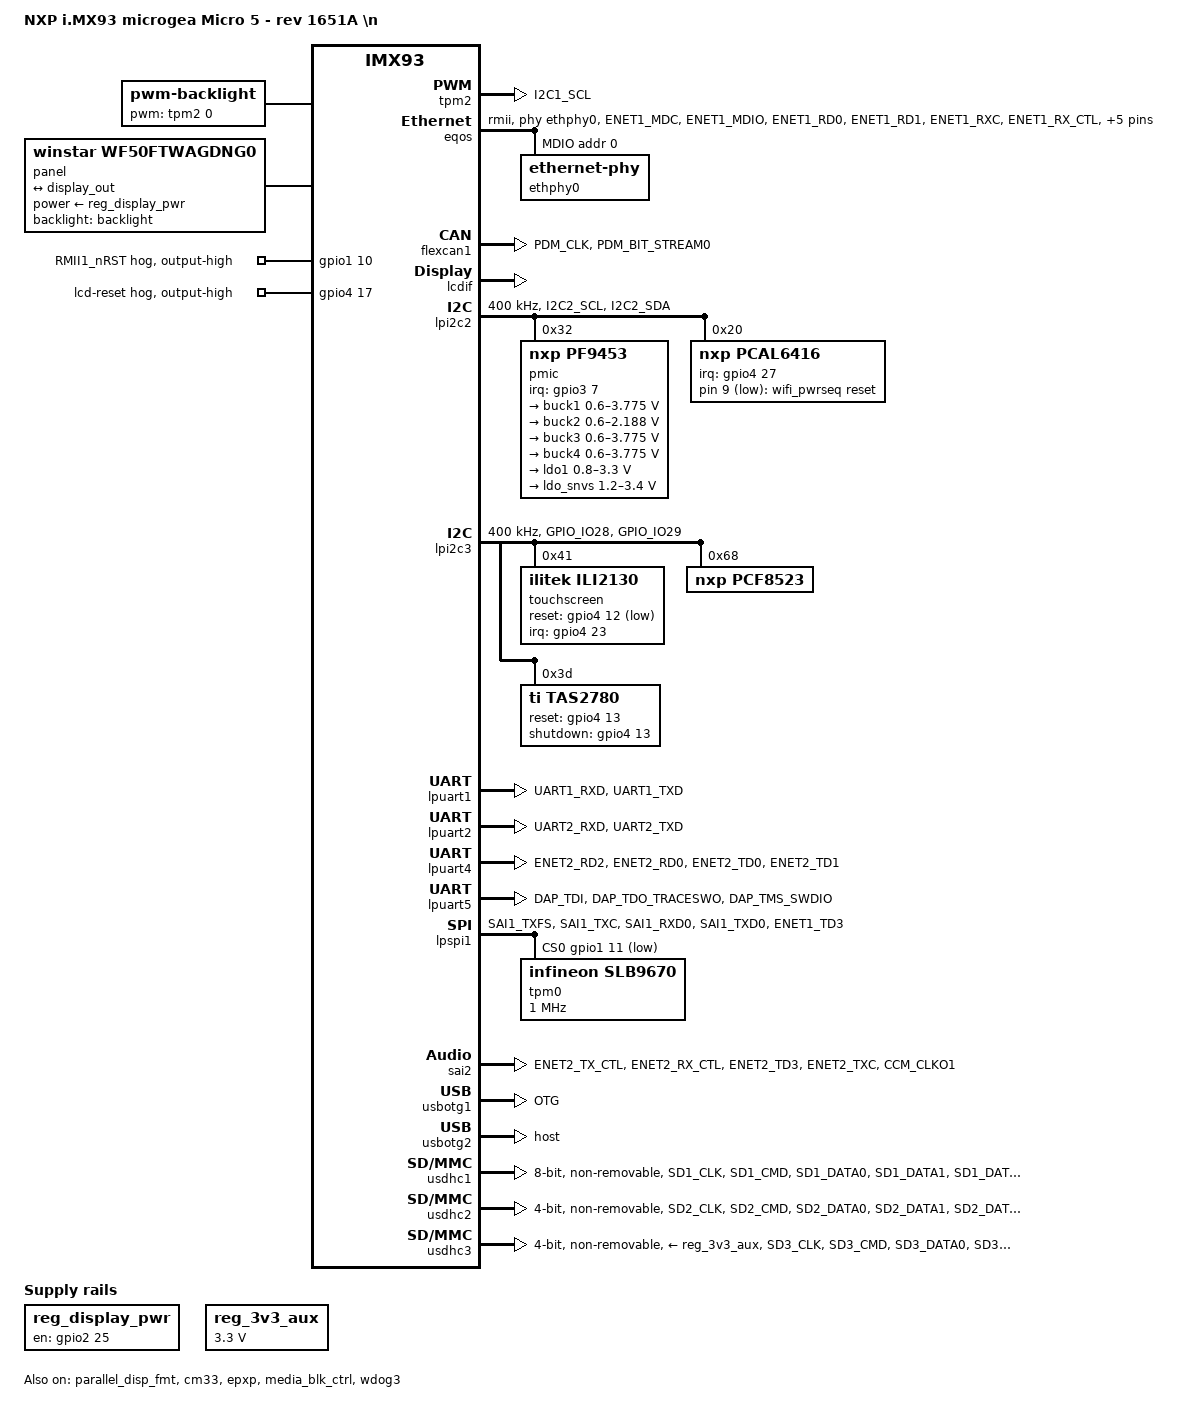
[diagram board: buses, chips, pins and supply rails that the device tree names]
// SPDX-License-Identifier: (GPL-2.0+ OR MIT)
/*
* Copyright 2022 NXP
*/

/dts-v1/;

#include <dt-bindings/net/mxl-8611x.h>
#include <dt-bindings/usb/pd.h>
#include "../freescale/imx93.dtsi"

&ele_fw2 { /*Needed for clean reboot*/
	memory-region = <&ele_reserved>;
};

/ {
	model = "NXP i.MX93 microgea Micro 5 - rev 1651A \n";
	compatible = "engi,imx93" ,"fsl,imx93";

	aliases {
		rtc1= &bbnsm_rtc;
	};

	chosen {
		stdout-path = &lpuart1;
	};

	ethosu { /*NPU*/
		compatible = "arm,ethosu";
		fsl,cm33-proc = <&cm33>;
		memory-region = <&ethosu_mem>;
		power-domains = <&mlmix>;
	};
	
	backlight: backlight { /*DISPLAY - Backlight*/
		compatible = "pwm-backlight";
		pwms = <&tpm2 0 100000 0>;
		brightness-levels = <0 100>;
		num-interpolated-steps = <100>;
		default-brightness-level = <80>;
	};
	
	panel { /*DISPLAY - Display logic*/
		compatible = "winstar,wf50ftwagdng0";
		backlight = <&backlight>;
		power-supply = <&reg_display_pwr>;
		status = "okay";

		port {
			panel_in: endpoint {
				remote-endpoint = <&display_out>;
			};
		};
	};

	reg_display_pwr: regulator-display-pwr { /*DISPLAY - Power*/
		compatible = "regulator-fixed";
		regulator-name = "display_pwr";
		gpio = <&gpio2 25 GPIO_ACTIVE_HIGH>;
		enable-active-high;
		regulator-boot-on;
		regulator-always-on; /* Remove this if you want the driver to manage it */
	};
	
	wifi_pwrseq: wifi-pwrseq { /*WIFI/BT WL_REG_ON*/
        compatible = "mmc-pwrseq-simple";
        reset-gpios = <&pcal6416 9 GPIO_ACTIVE_LOW>; /*EXPIO_1_1*/
        post-power-on-delay-ms = <500>;
    };

	reg_3v3_aux: regulator-3v3aux { /*WIFI/BT - Regulator*/
		compatible = "regulator-gpio";
		regulator-name = "3v3_aux";
		regulator-min-microvolt = <3300000>;
		regulator-max-microvolt = <3300000>;
		states = <3300000 0x1>,
				 <3300000 0x0>;
		enable-active-high;
	};

	reserved-memory {
		#address-cells = <2>;
		#size-cells = <2>;
		ranges;

		linux,cma {
			compatible = "shared-dma-pool";
			reusable;
			alloc-ranges = <0 0x80000000 0 0x40000000>;
			size = <0 0x10000000>;
			linux,cma-default;
		};

		ethosu_mem: ethosu_region@C0000000 {
			compatible = "shared-dma-pool";
			reusable;
			reg = <0x0 0xC0000000 0x0 0x10000000>;
		};

		rsc_table: rsc-table@2021e000 {
			reg = <0 0x2021e000 0 0x1000>;
			no-map;
		};

		vdevbuffer: vdevbuffer@a4020000 {
			compatible = "shared-dma-pool";
			reg = <0 0xa4020000 0 0x100000>;
			no-map;
		};

		vdev0vring0: vdev0vring0@a4000000 {
			reg = <0 0xa4000000 0 0x8000>;
			no-map;
		};

		vdev0vring1: vdev0vring1@a4008000 {
			reg = <0 0xa4008000 0 0x8000>;
			no-map;
		};

		vdev1vring0: vdev1vring0@a4000000 {
			reg = <0 0xa4010000 0 0x8000>;
			no-map;
		};

		vdev1vring1: vdev1vring1@a4018000 {
			reg = <0 0xa4018000 0 0x8000>;
			no-map;
		};

		ele_reserved: ele-reserved@a4120000 {
			compatible = "shared-dma-pool";
			reg = <0 0xa4120000 0 0x100000>;
			no-map;
		};
	};

	sound { /*SOUND*/
		compatible = "simple-audio-card";
		simple-audio-card,name = "tas2780-audio";
		simple-audio-card,format = "i2s";
		simple-audio-card,bitclock-master = <&dailink_master1>;
		simple-audio-card,frame-master = <&dailink_master1>;

		dailink_master1: simple-audio-card,cpu {
			sound-dai = <&sai2>;
		};

		simple-audio-card,codec {
			sound-dai = <&tas2780>;
		};
	};
};

&tpm2 { /*DISPALY - Backlight PWM*/
	pinctrl-names = "default";
	pinctrl-0 = <&pinctrl_tpm2_ch0>;
	status = "okay";
};

&parallel_disp_fmt { /*DISPLAY - Display bridge*/
	pinctrl-names = "default";
	pinctrl-0 = <&pinctrl_lcdif>;
	fsl,interface-pix-fmt = "rgb888";
	status = "okay";

	ports {
		port@1 {
			reg = <1>;
			display_out: endpoint {
				remote-endpoint = <&panel_in>;
			};
		};
	};
};

&cm33 { /*NPU*/
	mbox-names = "tx", "rx", "rxdb";
	mboxes = <&mu1 0 1
		&mu1 1 1
		&mu1 3 1>;
	memory-region = <&vdevbuffer>, <&vdev0vring0>, <&vdev0vring1>,
			<&vdev1vring0>, <&vdev1vring1>, <&rsc_table>;
	fsl,startup-delay-ms = <500>;
	status = "okay";
};

&eqos { /*ETHERNET*/
	pinctrl-names = "default";
	pinctrl-0 = <&pinctrl_eqos>;
	phy-mode = "rmii";
	phy-handle = <&ethphy0>;
	snps,rmii_refclk_ext;
	status = "okay";

	mdio {
		compatible = "snps,dwmac-mdio";
		#address-cells = <1>;
		#size-cells = <0>;
		clock-frequency = <5000000>;

		ethphy0: ethernet-phy@0 {
			reg = <0>;
		};
	};
};

&epxp { /*DISPLAY - Hardware accelerator*/
	status = "okay";
};

&flexcan1 { /*CAN*/
	pinctrl-names = "default";
	pinctrl-0 = <&pinctrl_flexcan1>;
	fsl,stop-mode = <&aonmix_ns_gpr 0x10 4>;
	status = "okay";
};

&lcdif { /*DIPLAY - Display Controller, Pixel Clock/DMA*/
	assigned-clock-rates = <300000000>, <30000000>, <400000000>, <133333333>;
	status = "okay";
};

&media_blk_ctrl { /*DISPLAY - Video Power*/
	status = "okay";
};

&lpi2c2 { /*I2C2 - PMIC*/
	#address-cells = <1>;
	#size-cells = <0>;
	clock-frequency = <400000>;
	pinctrl-names = "default", "sleep";
	pinctrl-0 = <&pinctrl_lpi2c2>;
	pinctrl-1 = <&pinctrl_lpi2c2>;
	status = "okay";

	pmic@32 { /*PMIC*/
		compatible = "nxp,pf9453";
		pinctrl-names = "default";
		pinctrl-0 = <&pinctrl_pf9453>;
		reg = <0x32>;
		interrupt-parent = <&gpio3>;
		interrupts = <7 IRQ_TYPE_EDGE_FALLING>;

		regulators {
			buck1: BUCK1 {
				regulator-name = "BUCK1";
				regulator-min-microvolt = <600000>;
				regulator-max-microvolt = <3775000>;
				regulator-boot-on;
				regulator-always-on;
			};

			buck2: BUCK2 {
				regulator-name = "BUCK2";
				regulator-min-microvolt = <600000>;
				regulator-max-microvolt = <2187500>;
				regulator-boot-on;
				regulator-always-on;
				regulator-ramp-delay = <12500>;
			};

			buck3: BUCK3 {
				regulator-name = "BUCK3";
				regulator-min-microvolt = <600000>;
				regulator-max-microvolt = <3775000>;
				regulator-boot-on;
				regulator-always-on;
			};

			buck4: BUCK4{
				regulator-name = "BUCK4";
				regulator-min-microvolt = <600000>;
				regulator-max-microvolt = <3775000>;
				regulator-boot-on;
				regulator-always-on;
			};

			ldo1: LDO1 {
				regulator-name = "LDO1";
				regulator-min-microvolt = <800000>;
				regulator-max-microvolt = <3300000>;
				regulator-boot-on;
				regulator-always-on;
			};

			ldo_snvs: LDO_SNVS {
				regulator-name = "LDO_SNVS";
				regulator-min-microvolt = <1200000>;
				regulator-max-microvolt = <3400000>;
				regulator-boot-on;
				regulator-always-on;
			};
		};
	};

	pcal6416: gpio@20 { /*EXPANSION GPIO - Wifi*/
		compatible = "nxp,pcal6416";
		pinctrl-names = "default";
		pinctrl-0 = <&pinctrl_pcal6416>;
		reg = <0x20>;
		interrupt-parent = <&gpio4>;
		interrupts = <27 IRQ_TYPE_LEVEL_LOW>;
		interrupt-controller;
		#interrupt-cells = <2>;
		gpio-controller;
		#gpio-cells = <2>;
		gpio-line-names =
			"EXPIO_0_0", "EXPIO_0_1", "EXPIO_0_2", "EXPIO_0_3",
			"EXPIO_0_4", "EXPIO_0_5", "EXPIO_0_6", "EXPIO_0_7",
			"EXPIO_1_0", "EXPIO_1_1", "EXPIO_1_2", "EXPIO_1_3",
			"EXPIO_1_4", "EXPIO_1_5", "EXPIO_1_6", "EXPIO_1_7";
	};
		
};

&lpi2c3 { /*I2C3 - Touchscreen Sound rtc*/
	#address-cells = <1>;
	#size-cells = <0>;
	clock-frequency = <400000>;
	pinctrl-names = "default";
	pinctrl-0 = <&pinctrl_lpi2c3>;
	status = "okay";

	touchscreen@41 { /*TOUCHSCREEN*/
		compatible = "ilitek,ili2130";
		pinctrl-0 = <&pinctrl_ilitek>;
		reg = <0x41>;
		interrupt-parent = <&gpio4>; /*LCD_TP_nINT*/
		interrupts = <23 IRQ_TYPE_LEVEL_LOW>;
		reset-gpios = <&gpio4 12 GPIO_ACTIVE_LOW>; /*LCD_TP_nRST*/
	};

	pcf8523: rtc@68 { /*RTC*/
		compatible = "nxp,pcf8523";
		reg = <0x68>;
	};

	tas2780: codec@3d { /*SOUND*/
		compatible = "ti,tas2780";
		reg = <0x3d>;
		pinctrl-names = "default";
		pinctrl-0 = <&pinctrl_tas2780_reset>;
		#sound-dai-cells = <0>;
		reset-gpios = <&gpio4 13 0>;
		shutdown-gpios = <&gpio4 13 0>;
		ti,imon-slot-no = <0>;
		ti,vmon-slot-no = <2>;
	};

	//eeprom@53 {
	//	compatible = "atmel,24c64";
	//	reg = <0x53>;
	//	pagesize = <64>;
	//};
};

&lpuart1 { /*CONSOLE*/
	pinctrl-names = "default";
	pinctrl-0 = <&pinctrl_uart1>;
	status = "okay";
};

&lpuart2 { /* RS 232 */
	pinctrl-names = "default";
	pinctrl-0 = <&pinctrl_uart2>;
	status = "okay";
};

&lpuart4 { /* BT */
	pinctrl-names = "default";
	pinctrl-0 = <&pinctrl_uart4>;
	status = "okay";
};

&lpuart5 { /* RS 485 */
	pinctrl-names = "default";
	pinctrl-0 = <&pinctrl_uart5>;
	status = "okay";
};

&lpspi1 { /*SPI MISO/MOSI*/
	fsl,spi-num-chipselects = <1>;
	pinctrl-names = "default";
	pinctrl-0 = <&pinctrl_lpspi1>;
	cs-gpios = <&gpio1 11 GPIO_ACTIVE_LOW>;
	pinctrl-assert-gpios = <&gpio4 2 GPIO_ACTIVE_HIGH>;
	status = "okay";
	/delete-property/ dmas;
	/delete-property/ dma-names;

	tpm0: slb9670@0 {
		reg = <0>;
		compatible = "infineon,slb9670";
		spi-max-frequency = <1000000>;
	};
};

&sai2 { /*SAI2 - Sounds*/
	#sound-dai-cells = <0>;
	pinctrl-names = "default", "sleep";
	pinctrl-0 = <&pinctrl_sai2>;
	pinctrl-1 = <&pinctrl_sai2_sleep>;
	assigned-clocks = <&clk IMX93_CLK_SAI2>;
	assigned-clock-parents = <&clk IMX93_CLK_AUDIO_PLL>;
	assigned-clock-rates = <12288000>;
	fsl,sai-mclk-direction-output;
	status = "okay";
};

&usbotg1 { /*USB J3*/
	dr_mode = "OTG";
	status = "okay";
};

&usbotg2 { /*USB J9*/
	dr_mode = "host";
	status = "okay";
};

&usdhc1 { /*EMMC*/
	pinctrl-names = "default";
	pinctrl-0 = <&pinctrl_usdhc1>;
	bus-width = <8>;
	no-1-8-v;
	no-mmc-hs400;
	non-removable;
	status = "okay";
};

&usdhc2 { /*SD CARD*/
	pinctrl-names = "default";
	pinctrl-0 = <&pinctrl_usdhc2>;
	bus-width = <4>;
	
	no-1-8-v;
	broken-cd;
	max-frequency = <25000000>;
	
	non-removable;
	status = "okay";
};

&usdhc3 { /*WIFI*/
	pinctrl-names = "default";
	pinctrl-0 = <&pinctrl_usdhc3>; //pinctrl_panasonic
	bus-width = <4>;
	vmmc-supply = <&reg_3v3_aux>;
	mmc-pwrseq = <&wifi_pwrseq>;
	no-1-8-v;
	pm-ignore-notify;
	keep-power-in-suspend;
	non-removable;
		
	//max-frequency = <25000000>;
	//max-frequency = <5000000>;
	
	non-removable;
	status = "okay";
};

&wdog3 { /*Needed for clena reboot*/
	status = "okay";
};

&iomuxc {
	pinctrl_eqos: eqosgrp { /*ETHERNET*/
		fsl,pins = <
			MX93_PAD_ENET1_MDC__ENET_QOS_MDC                        0x1e
			MX93_PAD_ENET1_MDIO__ENET_QOS_MDIO                      0x1e
			MX93_PAD_ENET1_RD0__ENET_QOS_RGMII_RD0                  0x1e
			MX93_PAD_ENET1_RD1__ENET_QOS_RGMII_RD1                  0x1e
			MX93_PAD_ENET1_RXC__ENET_QOS_RX_ER						0x1e
			MX93_PAD_ENET1_RX_CTL__ENET_QOS_RGMII_RX_CTL            0x1e
			MX93_PAD_ENET1_TD0__ENET_QOS_RGMII_TD0                  0x1e
			MX93_PAD_ENET1_TD1__ENET_QOS_RGMII_TD1                  0x1e
			MX93_PAD_ENET1_TD2__CCM_ENET_QOS_CLOCK_GENERATE_REF_CLK 0x1e
			MX93_PAD_ENET1_TX_CTL__ENET_QOS_RGMII_TX_CTL            0x1e
			MX93_PAD_PDM_BIT_STREAM1__GPIO1_IO10					0x1e
			/*MX93_PAD_ENET1_RD2__GPIO4_IO12						0x1e*/
		>;
	};
	
	pinctrl_flexcan1: flexcan1grp { /*CAN*/
		fsl,pins = <
			MX93_PAD_PDM_CLK__CAN1_TX			0x139e
			MX93_PAD_PDM_BIT_STREAM0__CAN1_RX	0x139e
		>;
	};

	pinctrl_lpi2c2: lpi2c2grp { /*I2C2*/
		fsl,pins = <
			MX93_PAD_I2C2_SCL__LPI2C2_SCL	0x40000b9e
			MX93_PAD_I2C2_SDA__LPI2C2_SDA	0x40000b9e
		>;
	};

	pinctrl_lpi2c3: lpi2c3grp { /*I2C3*/
		fsl,pins = <
			MX93_PAD_GPIO_IO28__LPI2C3_SDA	0x40000b9e
			MX93_PAD_GPIO_IO29__LPI2C3_SCL	0x40000b9e
		>;
	};

	pinctrl_ilitek: ilitekgrp { /*TOUCSCREEN*/
		fsl,pins = <
			MX93_PAD_ENET2_RXC__GPIO4_IO23	0x1b0b0 /* LCD_TP_nINT */
			MX93_PAD_ENET1_RD2__GPIO4_IO12	0x1b0b0 /* LCD_TP_nRST */
		>;
	};

	pinctrl_lpspi1: lpspi1grp { /*SPI MISO/MOSI*/
		fsl,pins = <
			MX93_PAD_SAI1_TXFS__GPIO1_IO11		0x3fe /* SPI_SS0 */
			MX93_PAD_SAI1_TXC__LPSPI1_SIN		0x3fe /* SPI_MISO */
			MX93_PAD_SAI1_RXD0__LPSPI1_SOUT		0x3fe /* SPI_MOSI */
			MX93_PAD_SAI1_TXD0__LPSPI1_SCK		0x3fe /* SPI_CLK */
			MX93_PAD_ENET1_TD3__GPIO4_IO02		0x3fe /* TPM_RST */
		>;
	};

	pinctrl_pcal6416: pcal6416grp { /*EXPANSION GPIO*/
		fsl,pins = <
			MX93_PAD_ENET2_RD3__GPIO4_IO27			0x31e /* INTERRUPT */
			MX93_PAD_SD1_STROBE__GPIO3_IO18			0x31e /* RESET */
		>;
	};

	pinctrl_pf9453: pf9453grp { /*PMIC*/
		fsl,pins = <
			MX93_PAD_SD2_RESET_B__GPIO3_IO07	0x1e
		>;
	};

	pinctrl_sai2: sai1grp { /*SAI2*/
		fsl,pins = <
			MX93_PAD_ENET2_TX_CTL__SAI2_TX_SYNC		0x31e /*I2S_LRCLK*/
			MX93_PAD_ENET2_RX_CTL__SAI2_TX_DATA00	0x31e /*I2S_DOUT*/
			MX93_PAD_ENET2_TD3__SAI2_RX_DATA00		0x31e /*I2S_DIN*/
			MX93_PAD_ENET2_TXC__SAI2_TX_BCLK		0x31e /*I2S_SCLK*/
			MX93_PAD_CCM_CLKO1__CCMSRCGPCMIX_CLKO1 	0x31e
		>;
	};
	
	pinctrl_sai2_sleep: sai1grpsleep { /*SAI2*/
		fsl,pins = <
			MX93_PAD_ENET2_TXC__GPIO4_IO21		0x51e
			MX93_PAD_ENET2_TX_CTL__GPIO4_IO20	0x51e
			MX93_PAD_ENET2_RX_CTL__GPIO4_IO22	0x51e
			MX93_PAD_ENET2_TD3__GPIO4_IO16		0x51e
		>;
	};

	pinctrl_tas2780_reset: tas2780resetgrp { /*SOUND - Reset*/
        fsl,pins = <
            MX93_PAD_ENET1_RD3__GPIO4_IO13	0x11e  /* AUDIO_SD# */
        >;
    };

	pinctrl_tpm2_ch0: tpm2ch0grp { /*DISPLAY - Backlight PWM*/
		fsl,pins = <
			MX93_PAD_I2C1_SCL__TPM2_CH0	0x31e /*LCD_BKL_PWM*/
		>;
	};

	pinctrl_uart1: uart1grp { /*CONSOLE*/
		fsl,pins = <
			MX93_PAD_UART1_RXD__LPUART1_RX	0x31e
			MX93_PAD_UART1_TXD__LPUART1_TX	0x31e
		>;
	};

	pinctrl_uart2: uart2grp { /*RS 232*/
		fsl,pins = <
			MX93_PAD_UART2_RXD__LPUART2_RX	0x31e
			MX93_PAD_UART2_TXD__LPUART2_TX	0x31e
		>;
	};

	pinctrl_uart4: uart4grp { /*BT*/
		fsl,pins = <
			MX93_PAD_ENET2_RD2__LPUART4_CTS_B	0x31e
			MX93_PAD_ENET2_RD0__LPUART4_RX		0x31e
			MX93_PAD_ENET2_TD0__LPUART4_TX		0x31e
			MX93_PAD_ENET2_TD1__LPUART4_RTS_B	0x31e
		>;
	};

	pinctrl_uart5: uart5grp { /*RS 485*/
		fsl,pins = <
			MX93_PAD_DAP_TDI__LPUART5_RX			0x31e
			MX93_PAD_DAP_TDO_TRACESWO__LPUART5_TX	0x31e
			MX93_PAD_DAP_TMS_SWDIO__LPUART5_RTS_B	0x31e
		>;
	};

	pinctrl_usdhc1: usdhc1grp { /*EMMC*/
		fsl,pins = <
			MX93_PAD_SD1_CLK__USDHC1_CLK		0x15fe
			MX93_PAD_SD1_CMD__USDHC1_CMD		0x13fe
			MX93_PAD_SD1_DATA0__USDHC1_DATA0	0x13fe
			MX93_PAD_SD1_DATA1__USDHC1_DATA1	0x13fe
			MX93_PAD_SD1_DATA2__USDHC1_DATA2	0x13fe
			MX93_PAD_SD1_DATA3__USDHC1_DATA3	0x13fe
			MX93_PAD_SD1_DATA4__USDHC1_DATA4	0x13fe
			MX93_PAD_SD1_DATA5__USDHC1_DATA5	0x13fe
			MX93_PAD_SD1_DATA6__USDHC1_DATA6	0x13fe
			MX93_PAD_SD1_DATA7__USDHC1_DATA7	0x13fe
		>;
	};

	pinctrl_usdhc2: usdhc2grp { /*SD CARD*/
		fsl,pins = <
			MX93_PAD_SD2_CLK__USDHC2_CLK		0x170e
			MX93_PAD_SD2_CMD__USDHC2_CMD		0x130e
			MX93_PAD_SD2_DATA0__USDHC2_DATA0	0x130e
			MX93_PAD_SD2_DATA1__USDHC2_DATA1	0x130e
			MX93_PAD_SD2_DATA2__USDHC2_DATA2	0x130e
			MX93_PAD_SD2_DATA3__USDHC2_DATA3	0x130e
		>;
	};

	pinctrl_usdhc3: usdhc3grp { /*WIFI*/
		fsl,pins = <
			MX93_PAD_SD3_CLK__USDHC3_CLK		0x17fe
			MX93_PAD_SD3_CMD__USDHC3_CMD		0x13fe
			MX93_PAD_SD3_DATA0__USDHC3_DATA0	0x13fe
			MX93_PAD_SD3_DATA1__USDHC3_DATA1	0x13fe
			MX93_PAD_SD3_DATA2__USDHC3_DATA2	0x13fe
			MX93_PAD_SD3_DATA3__USDHC3_DATA3	0x13fe
		>;
	};

	pinctrl_lcdif: lcdifgrp { /*DISPLAY - RGB Data/Sync*/
		fsl,pins = <
			MX93_PAD_GPIO_IO00__MEDIAMIX_DISP_CLK	   	0x31e
			MX93_PAD_GPIO_IO01__MEDIAMIX_DISP_DE    	0x31e
			MX93_PAD_GPIO_IO02__MEDIAMIX_DISP_VSYNC		0x31e
			MX93_PAD_GPIO_IO03__MEDIAMIX_DISP_HSYNC	   	0x31e
			MX93_PAD_GPIO_IO04__MEDIAMIX_DISP_DATA00	0x31e
			MX93_PAD_GPIO_IO05__MEDIAMIX_DISP_DATA01	0x31e
			MX93_PAD_GPIO_IO06__MEDIAMIX_DISP_DATA02	0x31e
			MX93_PAD_GPIO_IO07__MEDIAMIX_DISP_DATA03	0x31e
			MX93_PAD_GPIO_IO08__MEDIAMIX_DISP_DATA04	0x31e
			MX93_PAD_GPIO_IO09__MEDIAMIX_DISP_DATA05	0x31e
			MX93_PAD_GPIO_IO10__MEDIAMIX_DISP_DATA06	0x31e
			MX93_PAD_GPIO_IO11__MEDIAMIX_DISP_DATA07	0x31e
			MX93_PAD_GPIO_IO12__MEDIAMIX_DISP_DATA08	0x31e
			MX93_PAD_GPIO_IO13__MEDIAMIX_DISP_DATA09	0x31e
			MX93_PAD_GPIO_IO14__MEDIAMIX_DISP_DATA10	0x31e
			MX93_PAD_GPIO_IO15__MEDIAMIX_DISP_DATA11	0x31e
			MX93_PAD_GPIO_IO16__MEDIAMIX_DISP_DATA12	0x31e
			MX93_PAD_GPIO_IO17__MEDIAMIX_DISP_DATA13	0x31e
			MX93_PAD_GPIO_IO18__MEDIAMIX_DISP_DATA14	0x31e
			MX93_PAD_GPIO_IO19__MEDIAMIX_DISP_DATA15	0x31e
			MX93_PAD_GPIO_IO20__MEDIAMIX_DISP_DATA16	0x31e
			MX93_PAD_GPIO_IO21__MEDIAMIX_DISP_DATA17	0x31e
			MX93_PAD_GPIO_IO22__MEDIAMIX_DISP_DATA18	0x31e
			MX93_PAD_GPIO_IO23__MEDIAMIX_DISP_DATA19	0x31e
			MX93_PAD_GPIO_IO24__MEDIAMIX_DISP_DATA20	0x31e
			/*MX93_PAD_GPIO_IO25__MEDIAMIX_DISP_DATA21	0x31e DISPLAY ON/OFF */
			MX93_PAD_GPIO_IO26__MEDIAMIX_DISP_DATA22	0x31e
			MX93_PAD_GPIO_IO27__MEDIAMIX_DISP_DATA23	0x31e
		>;
	};
	
	pinctrl_disp_pwr: disppwrgrp { /*DISPLAY - Power*/
		fsl,pins = <
			MX93_PAD_GPIO_IO25__GPIO2_IO25    0x31e /*DISPLAY ON/OFF*/
		>;
	};
	
	pinctrl_lcd_rst: lcdrstgrp { /*DISPLAY - Reset*/
		fsl,pins = <
			MX93_PAD_ENET2_TD2__GPIO4_IO17    0x31e /*LCD_nRST*/
		>;
	};
};

&gpio1 {
	gpio-line-names =
		"", "", "", "", "", "", "", "",
		"", "", "RMII1_nRST", "", "", "", "", "",
		"", "", "", "", "", "", "", "",
		"", "", "", "", "", "", "", "";
		RMII1_nRST { /*ETHERNET - nRsT*/
			gpio-hog;
			gpios = <10 0>;
			output-high;
		};
};

&gpio2 {
	status="okay";
	//pinctrl-names = "default";
	//pinctrl-0 = <&pinctrl_disp_pwr>;
	
	//DISP_ON_OFF {
	//	gpio-hog;
	//	gpios = <25 GPIO_ACTIVE_HIGH>;
	//	output-high;
	//	line-name = "display-on-off";
	//};
};

&gpio4 {
	status="okay";
	pinctrl-names = "default";
    pinctrl-0 = <&pinctrl_lcd_rst>;
	gpio-line-names =
		"", "", "", "", "", "", "", "",
		"", "", "", "", "", "AUDIO_SD#", "", "",
		"", "LCD_nRST", "", "", "", "", "", "",
		"", "", "", "", "", "", "", "";
		
		LCD_nRST { /*DISPLAY - Reset*/
			gpio-hog;
			gpios = <17 GPIO_ACTIVE_HIGH>;
			output-high;
			line-name = "lcd-reset";
		};
		
		//DISP0_PWD {
		//	gpio-hog;
		//	gpios = <14 0>;
		//	output-high;
		//};

		//ENB_RFPS {
		//	gpio-hog;
		//	gpios = <7 0>;
		//	output-high;
		//};

		//WL_PDN {
		//	gpio-hog;
		//	gpios = <25 0>;
		//	output-high;
		//};
};

